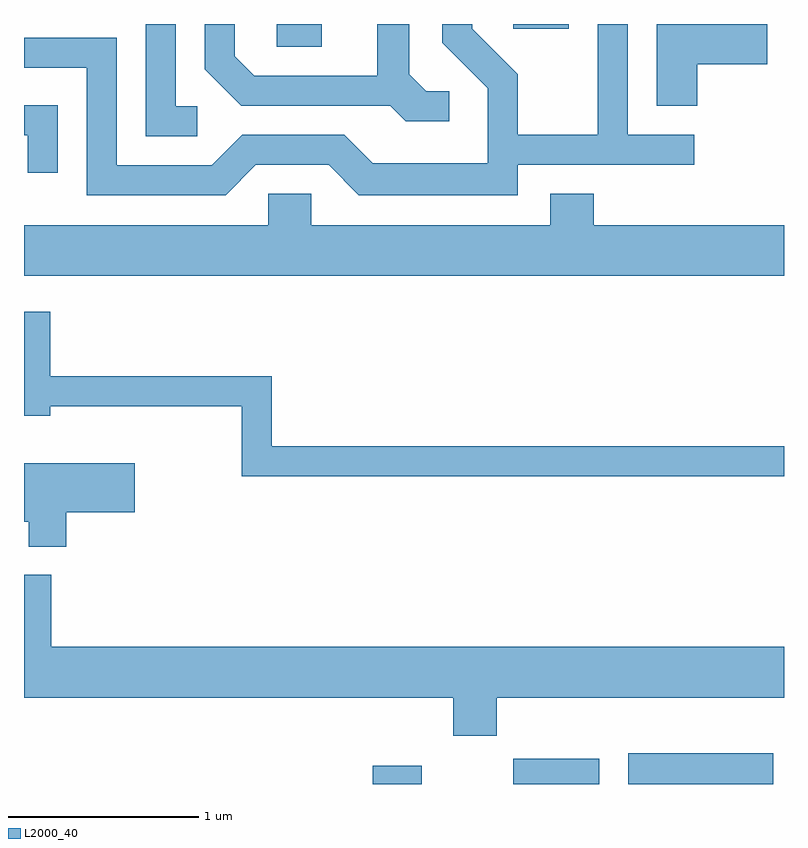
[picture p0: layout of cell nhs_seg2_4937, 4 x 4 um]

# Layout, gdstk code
import gdstk
lib = gdstk.Library(unit=1e-6, precision=1e-09)
def R(c, l, rs):  # rectangles x0, y0, x1, y1
    for r in rs: c.add(gdstk.rectangle(r[:2], r[2:], *l))
def P(c, l, *ps):  # polygons
    for p in ps: c.add(gdstk.Polygon(p, *l))
L2000_40 = (2000, 40)

nhs_seg2_4937 = lib.new_cell('nhs_seg2_4937')
R(nhs_seg2_4937, L2000_40, [(331.446,1107.802,331.704,1107.899), (332.186,1107.802,332.639,1107.934), (332.791,1107.802,333.554,1107.964), (330.941,1111.681,331.179,1111.802), (332.186,1111.776,332.479,1111.802)])
P(nhs_seg2_4937, L2000_40, [(331.848,1111.449),(331.727,1111.449),(331.639,1111.537),(331.639,1111.802),(331.471,1111.802),(331.471,1111.529),(330.822,1111.529),(330.719,1111.632),(330.719,1111.802),(330.561,1111.802),(330.561,1111.564),(330.754,1111.371),(331.539,1111.371),(331.619,1111.291),(331.848,1111.291)],
  [(330.523,1111.369),(330.409,1111.369),(330.409,1111.802),(330.251,1111.802),(330.251,1111.211),(330.523,1111.211)],
  [(333.154,1111.591),(333.524,1111.591),(333.524,1111.802),(332.941,1111.802),(332.941,1111.371),(333.154,1111.371)],
  [(330.832,1111.061),(331.214,1111.061),(331.374,1110.901),(332.209,1110.901),(332.209,1111.061),(333.138,1111.061),(333.138,1111.219),(332.789,1111.219),(332.789,1111.802),(332.631,1111.802),(332.631,1111.219),(332.209,1111.219),(332.209,1111.537),(331.969,1111.777),(331.969,1111.802),(331.811,1111.802),(331.811,1111.704),(332.051,1111.464),(332.051,1111.069),(331.447,1111.069),(331.297,1111.219),(330.759,1111.219),(330.599,1111.059),(330.099,1111.059),(330.099,1111.729),(329.611,1111.729),(329.611,1111.571),(329.941,1111.571),(329.941,1110.901),(330.672,1110.901)],
  [(329.789,1111.374),(329.611,1111.374),(329.611,1111.216),(329.631,1111.216),(329.631,1111.018),(329.789,1111.018)],
  [(333.611,1110.744),(332.609,1110.744),(332.609,1110.909),(332.381,1110.909),(332.381,1110.744),(331.124,1110.744),(331.124,1110.909),(330.896,1110.909),(330.896,1110.744),(329.611,1110.744),(329.611,1110.476),(333.611,1110.476)],
  [(333.611,1109.579),(330.914,1109.579),(330.914,1109.949),(329.749,1109.949),(329.749,1110.288),(329.611,1110.288),(329.611,1109.741),(329.749,1109.741),(329.749,1109.791),(330.756,1109.791),(330.756,1109.421),(333.611,1109.421)],
  [(329.834,1109.231),(330.194,1109.231),(330.194,1109.489),(329.611,1109.489),(329.611,1109.181),(329.636,1109.181),(329.636,1109.051),(329.834,1109.051)],
  [(332.099,1108.256),(333.611,1108.256),(333.611,1108.524),(329.754,1108.524),(329.754,1108.903),(329.611,1108.903),(329.611,1108.256),(331.871,1108.256),(331.871,1108.056),(332.099,1108.056)])

lib.write_gds('nhs_seg2_4937.gds')
